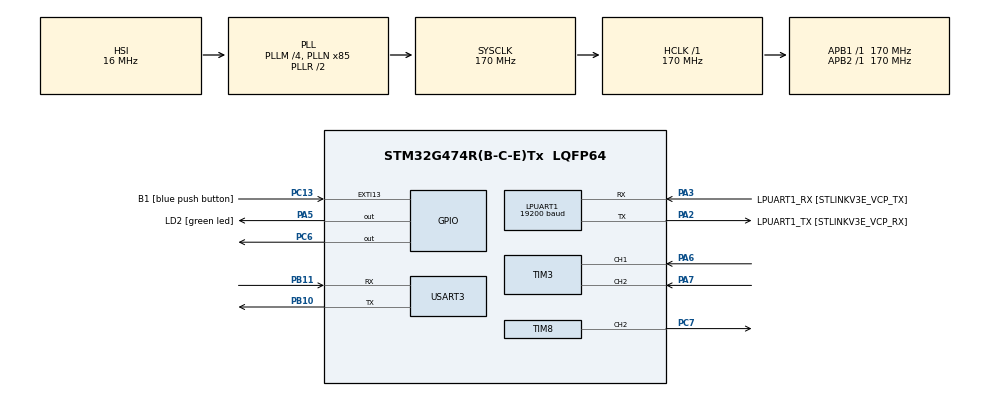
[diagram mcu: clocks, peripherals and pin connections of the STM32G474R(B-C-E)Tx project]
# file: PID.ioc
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LPUART1.BaudRate=19200
LPUART1.Parity=UART_PARITY_EVEN
LPUART1.WordLength=UART_WORDLENGTH_9B
Mcu.Family=STM32G4
Mcu.Name=STM32G474R(B-C-E)Tx
Mcu.Package=LQFP64
NVIC.EXTI15_10_IRQn=true\:0\:0\:false\:false\:true\:true\:true\:true
NVIC.PriorityGroup=NVIC_PRIORITYGROUP_4
NVIC.TIM6_DAC_IRQn=true\:0\:0\:false\:false\:true\:true\:true\:true
NVIC.USART3_IRQn=true\:0\:0\:false\:false\:true\:true\:true\:true
PA13.GPIO_Label=T_SWDIO
PA13.Signal=SYS_JTMS-SWDIO
PA14.GPIO_Label=T_SWCLK
PA14.Signal=SYS_JTCK-SWCLK
PA2.GPIO_Label=LPUART1_TX [STLINKV3E_VCP_RX]
PA2.Mode=Asynchronous
PA2.Signal=LPUART1_TX
PA3.GPIO_Label=LPUART1_RX [STLINKV3E_VCP_TX]
PA3.Mode=Asynchronous
PA3.Signal=LPUART1_RX
PA5.GPIO_Label=LD2 [green led]
PA5.Signal=GPIO_Output
PA6.Signal=S_TIM3_CH1
PA7.Signal=S_TIM3_CH2
PB10.Mode=Asynchronous
PB10.Signal=USART3_TX
PB11.Mode=Asynchronous
PB11.Signal=USART3_RX
PB3.GPIO_Label=T_SWO
PB3.Signal=SYS_JTDO-SWO
PC13.GPIO_Label=B1 [blue push button]
PC13.Signal=GPXTI13
PC14-OSC32_IN.GPIO_Label=RCC_OSC32_IN
PC14-OSC32_IN.Signal=RCC_OSC32_IN
PC15-OSC32_OUT.GPIO_Label=RCC_OSC32_OUT
PC15-OSC32_OUT.Signal=RCC_OSC32_OUT
PC6.Signal=GPIO_Output
PC7.Signal=S_TIM8_CH2
PF0-OSC_IN.GPIO_Label=RCC_OSC_IN
PF0-OSC_IN.Signal=RCC_OSC_IN
PF1-OSC_OUT.GPIO_Label=RCC_OSC_OUT
PF1-OSC_OUT.Signal=RCC_OSC_OUT
ProjectManager.HeapSize=0x200
ProjectManager.StackSize=0x400
ProjectManager.TargetToolchain=STM32CubeIDE
RCC.ADC12Freq_Value=170000000
RCC.ADC345Freq_Value=170000000
RCC.AHBFreq_Value=170000000
RCC.APB1Freq_Value=170000000
RCC.APB1TimFreq_Value=170000000
RCC.APB2Freq_Value=170000000
RCC.APB2TimFreq_Value=170000000
RCC.CortexFreq_Value=170000000
RCC.EXTERNAL_CLOCK_VALUE=12288000
RCC.HCLKFreq_Value=170000000
RCC.HSE_VALUE=24000000
RCC.HSI48_VALUE=48000000
RCC.HSI_VALUE=16000000
RCC.LPUART1CLockSelection=RCC_LPUART1CLKSOURCE_HSI
RCC.LSE_VALUE=32768
RCC.PLLM=RCC_PLLM_DIV4
RCC.PLLN=85
RCC.RTCClockSelection=RCC_RTCCLKSOURCE_LSE
RCC.SYSCLKFreq_VALUE=170000000
RCC.SYSCLKSource=RCC_SYSCLKSOURCE_PLLCLK
RCC.USBFreq_Value=170000000
RCC.VCOOutputFreq_Value=340000000
SH.S_TIM3_CH1.0=TIM3_CH1,Encoder_Interface
SH.S_TIM3_CH2.0=TIM3_CH2,Encoder_Interface
SH.S_TIM8_CH2.0=TIM8_CH2,PWM Generation2 CH2
TIM3.EncoderMode=TIM_ENCODERMODE_TI12
TIM6.PeriodNoDither=9999
TIM6.Prescaler=169
TIM8.Channel-PWM\ Generation2\ CH2=TIM_CHANNEL_2
TIM8.PeriodNoDither=50
TIM8.Prescaler=169
TIM8.PulseNoDither_2=0
USART3.VirtualMode-Asynchronous=VM_ASYNC
VP_SYS_VS_DBSignals.Mode=DisableDeadBatterySignals
VP_TIM16_VS_ClockSourceINT.Mode=Enable_Timer
VP_TIM6_VS_ClockSourceINT.Mode=Enable_Timer
VP_TIM8_VS_ClockSourceINT.Mode=Internal
board=NUCLEO-G474RE

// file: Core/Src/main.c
/* USER CODE BEGIN Header */
/**
  ******************************************************************************
  * @file           : main.c
  * @brief          : Main program body
  ******************************************************************************
  */
/* USER CODE END Header */
#include "main.h"
#include "usart.h"
#include "tim.h"
#include "gpio.h"

/* USER CODE BEGIN Includes */
#include "motor_pid_controller.h"
#include "ModBusRTU.h"
#include <string.h>
#include <stdio.h>
/* USER CODE END Includes */

/* USER CODE BEGIN PV */
/* Motor control variables */
volatile uint32_t loop_counter = 0;
volatile float target_speed_rpm = 10.0f;

/* UART reception variables */
uint8_t rx_byte;
char rx_buffer[4];
uint8_t rx_index = 0;
char controlState[4] = "O-N";

/* Modbus variables */
ModbusHandleTypedef hmodbus;
u16u8_t registerFrame[128];
uint8_t modbus_rx_byte;
/* USER CODE END PV */

void SystemClock_Config(void);
/* USER CODE BEGIN PFP */
void Modbus_RxCallback(UART_HandleTypeDef *huart);
void Modbus_TimerCallback(TIM_HandleTypeDef *htim);
void Joystick_RxCallback(UART_HandleTypeDef *huart);
/* USER CODE END PFP */

/* USER CODE BEGIN 0 */
void Modbus_RxCallback(UART_HandleTypeDef *huart)
{
    if (hmodbus.UartStructure.RxTail < MODBUS_MESSAGEBUFFER_SIZE)
    {
        hmodbus.UartStructure.RxBuffer[hmodbus.UartStructure.RxTail++] = modbus_rx_byte;
    }
    hmodbus.Mstatus = Modbus_state_Reception;
    __HAL_TIM_SET_COUNTER(hmodbus.htim, 0);
    HAL_TIM_Base_Start_IT(hmodbus.htim);
    HAL_UART_Receive_IT(hmodbus.huart, &modbus_rx_byte, 1);
}

void Modbus_TimerCallback(TIM_HandleTypeDef *htim)
{
    if (htim->Instance == TIM16)
    {
        hmodbus.Flag_T35TimeOut = 1;
        HAL_TIM_Base_Stop_IT(htim);
    }
}

void Joystick_RxCallback(UART_HandleTypeDef *huart)
{
    if (rx_byte == 'P') Motor_ProcessCommand('P');

    if (rx_byte == '\n' || rx_byte == '\r')
    {
      if (rx_index > 0)
      {
        rx_buffer[rx_index] = '\0';
        if (rx_buffer[0] != 'P') Motor_ProcessCommand(rx_buffer[0]);
        if (rx_index >= 3) Motor_SetConnectionStatus(rx_buffer[2] == 'C');
        rx_index = 0;
        HAL_GPIO_TogglePin(GPIOA, GPIO_PIN_5);
      }
    }
    else
    {
      if (rx_index < (sizeof(rx_buffer) - 1)) rx_buffer[rx_index++] = rx_byte;
      if (rx_index >= 3)
      {
        rx_buffer[rx_index] = '\0';
        Motor_UpdateModeButton(rx_buffer[0] == 'M');
        Motor_UpdateSelectionButton(rx_buffer[0] == 'Y');
        Motor_UpdateControlModeButton(rx_buffer[0] == 'B');
        Motor_ProcessCommand(rx_buffer[0]);
        Motor_SetConnectionStatus(rx_buffer[2] == 'C');
        rx_index = 0;
      }
    }
    HAL_UART_Receive_IT(&huart3, &rx_byte, 1);
}
/* USER CODE END 0 */

int main(void)
{

  /* MCU Configuration--------------------------------------------------------*/

  /* Reset of all peripherals, Initializes the Flash interface and the Systick. */
  HAL_Init();

  /* Configure the system clock */
  SystemClock_Config();

  /* Initialize all configured peripherals */
  MX_GPIO_Init();
  MX_TIM8_Init();
  MX_TIM6_Init();
  MX_TIM3_Init();
  MX_USART3_UART_Init();
  MX_LPUART1_UART_Init();
  MX_TIM16_Init();
  /* USER CODE BEGIN 2 */
  // 1. Motor Initialization
  Motor_Init();
  Motor_SetVoltageLimit(12.0f, 12.0f);
  Motor_SetMotionProfile(2000.0f, 1000.0f, 0.8f);

  // 2. Modbus Initialization
  memset(registerFrame, 0, sizeof(registerFrame));
  registerFrame[0].U16 = 22881; // "YA"

  hmodbus.huart = &hlpuart1;
  hmodbus.htim = &htim16;
  hmodbus.slaveAddress = 21;
  hmodbus.RegisterSize = 128;
  Modbus_init(&hmodbus, registerFrame);

  // Register Callbacks
  HAL_UART_RegisterCallback(&hlpuart1, HAL_UART_RX_COMPLETE_CB_ID, Modbus_RxCallback);
  HAL_UART_RegisterCallback(&huart3, HAL_UART_RX_COMPLETE_CB_ID, Joystick_RxCallback);
  HAL_TIM_RegisterCallback(&htim16, HAL_TIM_PERIOD_ELAPSED_CB_ID, Modbus_TimerCallback);

  // Start reception
  HAL_UART_Receive_IT(&hlpuart1, &modbus_rx_byte, 1);
  HAL_UART_Receive_IT(&huart3, &rx_byte, 1);

  registerFrame[0].U16 = 22881; // "YA"
  /* USER CODE END 2 */

  /* Infinite loop */
  /* USER CODE BEGIN WHILE */
  uint32_t last_matlab_tick = 0;
  while (1)
  {
    /* USER CODE END WHILE */

    /* USER CODE BEGIN 3 */
    uint32_t now = HAL_GetTick();

    // Stream data to MATLAB every 20ms (50Hz)
    if (now - last_matlab_tick >= 20)
    {
      Motor_SendDataToMatlab();
      last_matlab_tick = now;
    }

    // Modbus Data Sync
    registerFrame[0x28].U16 = (int16_t)(Motor_GetPosition() * 10.0f);
    registerFrame[0x29].U16 = (int16_t)(Motor_GetSpeed() * 10.0f);
    registerFrame[0x31].U16 = Emergency_stop ? 1 : 0;

    // Handle Modbus Writes (Commands from PC)
    if (registerFrame[0x01].U16 & 0x01) { // Home
        Motor_MoveToPosition(0.0f);
        registerFrame[0x01].U16 &= ~0x01;
    }
    if (registerFrame[0x01].U16 & 0x08) { // Set Home
        __HAL_TIM_SET_COUNTER(&htim3, 0);
        encoder.absolute_counts = 0;
        encoder.current_position_deg = 0.0f;
        trajectory.target_pos = 0.0f;
        trajectory.current_setpoint_pos = 0.0f;
        registerFrame[0x01].U16 &= ~0x08;
    }
    if (registerFrame[0x24].U16 != 0) { // P2P
        Motor_MoveToPosition((float)((int16_t)registerFrame[0x24].U16));
        registerFrame[0x24].U16 = 0;
    }

    // Process Modbus
    Modbus_Protocol_Worker(&hmodbus);
  }
  /* USER CODE END 3 */
}

void SystemClock_Config(void)
{
  RCC_OscInitTypeDef RCC_OscInitStruct = {0};
  RCC_ClkInitTypeDef RCC_ClkInitStruct = {0};

  /** Configure the main internal regulator output voltage
  */
  HAL_PWREx_ControlVoltageScaling(PWR_REGULATOR_VOLTAGE_SCALE1_BOOST);

  /** Initializes the RCC Oscillators according to the specified parameters
  * in the RCC_OscInitTypeDef structure.
  */
  RCC_OscInitStruct.OscillatorType = RCC_OSCILLATORTYPE_HSI;
  RCC_OscInitStruct.HSIState = RCC_HSI_ON;
  RCC_OscInitStruct.HSICalibrationValue = RCC_HSICALIBRATION_DEFAULT;
  RCC_OscInitStruct.PLL.PLLState = RCC_PLL_ON;
  RCC_OscInitStruct.PLL.PLLSource = RCC_PLLSOURCE_HSI;
  RCC_OscInitStruct.PLL.PLLM = RCC_PLLM_DIV4;
  RCC_OscInitStruct.PLL.PLLN = 85;
  RCC_OscInitStruct.PLL.PLLP = RCC_PLLP_DIV2;
  RCC_OscInitStruct.PLL.PLLQ = RCC_PLLQ_DIV2;
  RCC_OscInitStruct.PLL.PLLR = RCC_PLLR_DIV2;
  if (HAL_RCC_OscConfig(&RCC_OscInitStruct) != HAL_OK)
  {
    Error_Handler();
  }

  /** Initializes the CPU, AHB and APB buses clocks
  */
  RCC_ClkInitStruct.ClockType = RCC_CLOCKTYPE_HCLK|RCC_CLOCKTYPE_SYSCLK
                              |RCC_CLOCKTYPE_PCLK1|RCC_CLOCKTYPE_PCLK2;
  RCC_ClkInitStruct.SYSCLKSource = RCC_SYSCLKSOURCE_PLLCLK;
  RCC_ClkInitStruct.AHBCLKDivider = RCC_SYSCLK_DIV1;
  RCC_ClkInitStruct.APB1CLKDivider = RCC_HCLK_DIV1;
  RCC_ClkInitStruct.APB2CLKDivider = RCC_HCLK_DIV1;

  if (HAL_RCC_ClockConfig(&RCC_ClkInitStruct, FLASH_LATENCY_4) != HAL_OK)
  {
    Error_Handler();
  }
}

/* USER CODE BEGIN 4 */

/**
  * @brief  Redirect printf to huart3 (Joystick Port) to avoid HAL conflict
  */
int _write(int file, char *ptr, int len)
{
  for (int i = 0; i < len; i++)
  {
    while (!(huart3.Instance->ISR & UART_FLAG_TXE));
    huart3.Instance->TDR = ptr[i];
  }
  return len;
}

/**
  * @brief  Callback function called by TIM6 interrupt handler
  */
void HAL_TIM_PeriodElapsedCallback(TIM_HandleTypeDef *htim)
{
  if (htim->Instance == TIM6)
  {
    TIM6_Control_Loop_ISR();
  }
}

/**
  * @brief  UART reception completion callback (for huart3)
  */
void HAL_UART_RxCpltCallback(UART_HandleTypeDef *huart)
{
  if (huart->Instance == USART3)
  {
    if (rx_byte == 'P') Motor_ProcessCommand('P');

    if (rx_byte == '\n' || rx_byte == '\r')
    {
      if (rx_index > 0)
      {
        rx_buffer[rx_index] = '\0';
        if (rx_buffer[0] != 'P') Motor_ProcessCommand(rx_buffer[0]);
        if (rx_index >= 3) Motor_SetConnectionStatus(rx_buffer[2] == 'C');
        rx_index = 0;
        HAL_GPIO_TogglePin(GPIOA, GPIO_PIN_5);
      }
    }
    else
    {
      if (rx_index < (sizeof(rx_buffer) - 1)) rx_buffer[rx_index++] = rx_byte;
      if (rx_index >= 3)
      {
        rx_buffer[rx_index] = '\0';
        Motor_UpdateModeButton(rx_buffer[0] == 'M');
        Motor_UpdateSelectionButton(rx_buffer[0] == 'Y');
        Motor_UpdateControlModeButton(rx_buffer[0] == 'B');
        Motor_ProcessCommand(rx_buffer[0]);
        Motor_SetConnectionStatus(rx_buffer[2] == 'C');
        rx_index = 0;
      }
    }
    HAL_UART_Receive_IT(&huart3, &rx_byte, 1);
  }
}

/* USER CODE END 4 */

void Error_Handler(void)
{
  __disable_irq();
  while (1)
  {
  }
}
